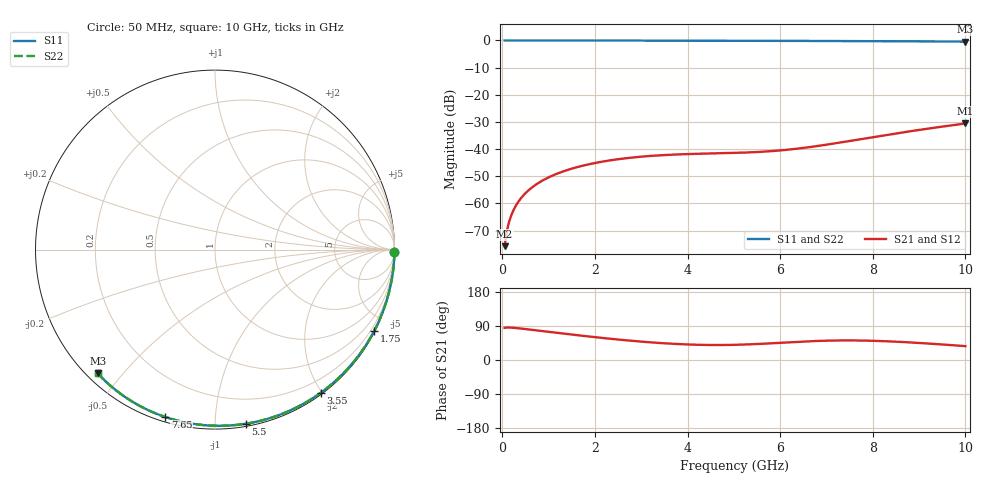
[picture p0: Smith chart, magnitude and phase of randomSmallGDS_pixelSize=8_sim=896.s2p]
! freq	dB(S11)	phase(S11)	dB(S12)	phase(S12)
!  dB(S21)	phase(S21)	dB(S22)	phase(S22)
!S-par simulation data
#  GHz  S  DB  R 50
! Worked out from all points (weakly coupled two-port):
!   200 points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, 50 MHz to 10 GHz, reference 50 ohm
!   highest |S21| = -30.58 dB at 10 GHz (marker M1); lowest = -75.8 dB at 50 MHz (marker M2)
!   lowest |S11| = -0.4 dB at 10 GHz (marker M3), VSWR 39.21, Z = 1.51 - j21.5 ohm
!   |S11| at or under -10 dB: nowhere
!   |S22| runs from -0.4 to 0.0 dB; largest |S21 - S12| = 0
!   S11 on the Smith chart (normalised r, x): 50 MHz: open; 1.75 GHz: 0.04, -4.16; 3.55 GHz: 0.02, -1.98; 5.5 GHz: 0.02, -1.19; 7.65 GHz: 0.02, -0.75; 10 GHz: 0.03, -0.43
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0.05  -0.00 -0.8  -75.76 85.0  -75.76 85.0  -0.00 -0.8
0.1  -0.00 -1.6  -70.04 85.7  -70.04 85.7  -0.00 -1.6
0.15  -0.00 -2.4  -66.60 85.7  -66.60 85.7  -0.00 -2.4
0.2  -0.00 -3.1  -64.13 85.4  -64.13 85.4  -0.00 -3.1
0.25  -0.00 -3.9  -62.21 84.9  -62.21 84.9  -0.00 -3.9
0.35  -0.00 -5.5  -59.32 83.7  -59.32 83.7  -0.00 -5.5
0.5  -0.01 -7.8  -56.26 81.7  -56.26 81.7  -0.01 -7.8
0.7  -0.01 -10.9  -53.40 78.8  -53.40 78.8  -0.01 -10.9
1  -0.02 -15.6  -50.43 74.4  -50.43 74.4  -0.02 -15.6
1.35  -0.03 -21.0  -48.02 69.3  -48.02 69.3  -0.03 -21.0
1.75  -0.03 -27.0  -46.07 63.7  -46.07 63.7  -0.03 -27.0
2.5  -0.05 -38.3  -43.74 54.0  -43.74 54.0  -0.05 -38.3
3.4  -0.07 -51.4  -42.30 44.9  -42.30 44.9  -0.07 -51.4
3.55  -0.07 -53.5  -42.16 43.7  -42.16 43.7  -0.07 -53.5
4.3  -0.09 -64.0  -41.70 39.9  -41.70 39.9  -0.09 -64.0
5.05  -0.11 -74.1  -41.40 40.1  -41.40 40.1  -0.11 -74.1
5.5  -0.13 -80.0  -41.09 42.1  -41.09 42.1  -0.13 -80.0
6.05  -0.15 -87.0  -40.42 45.8  -40.42 45.8  -0.15 -87.0
6.7  -0.18 -95.1  -39.13 49.8  -39.13 49.8  -0.18 -95.1
7.65  -0.24 -106.6  -36.61 51.5  -36.61 51.5  -0.24 -106.6
8.35  -0.29 -114.8  -34.66 49.2  -34.66 49.2  -0.29 -114.8
10  -0.44 -133.4  -30.58 36.6  -30.58 36.6  -0.44 -133.4
